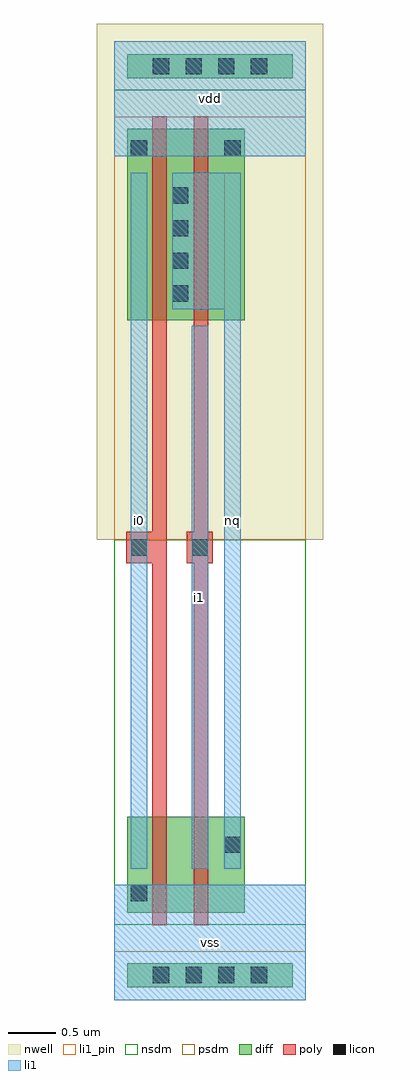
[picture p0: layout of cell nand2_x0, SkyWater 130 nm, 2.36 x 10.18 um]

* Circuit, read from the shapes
.subckt nand2_x0 i0 i1 nq vdd vss
XM1 n1 i0 vss VSUBS sky130_fd_pr__nfet_01v8 w=1 l=0.15
XM2 nq i1 n1 VSUBS sky130_fd_pr__nfet_01v8 w=1 l=0.15
XM3 nq i0 vdd n2 sky130_fd_pr__pfet_01v8 w=2 l=0.15
XM4 vdd i1 nq n2 sky130_fd_pr__pfet_01v8 w=2 l=0.15
.ends

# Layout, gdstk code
import gdstk
lib = gdstk.Library(unit=1e-6, precision=1e-09)
def R(c, l, rs):  # rectangles x0, y0, x1, y1
    for r in rs: c.add(gdstk.rectangle(r[:2], r[2:], *l))
def A(c, l, x, y, w, h, nx, ny, dx, dy):  # array of equal rectangles
    R(c, l, [(x+i*dx, y+j*dy, x+i*dx+w, y+j*dy+h) for i in range(nx) for j in range(ny)])
def P(c, l, *ps):  # polygons
    for p in ps: c.add(gdstk.Polygon(p, *l))
nwell = (64, 20)
diff = (65, 20)
poly = (66, 20)
licon = (66, 44)
li1_pin = (67, 16)
li1 = (67, 20)
nsdm = (93, 44)
psdm = (94, 20)

nand2_x0 = lib.new_cell('nand2_x0')
R(nand2_x0, nwell, [(-0.18,4.8,2.18,10.18)])
R(nand2_x0, diff, [(0.135,0.135,1.865,0.385), (0.135,0.91,1.36,1.91), (0.135,7.09,1.36,9.09), (0.135,9.615,1.865,9.865)])
P(nand2_x0, poly, [(0.4,0.78),(0.4,4.555),(0.125,4.555),(0.125,4.885),(0.4,4.885),(0.4,9.22),(0.55,9.22),(0.55,0.78)],
  [(0.83,0.78),(0.83,4.555),(0.76,4.555),(0.76,4.885),(0.83,4.885),(0.83,9.22),(0.98,9.22),(0.98,4.885),(1.03,4.885),(1.03,4.555),(0.98,4.555),(0.98,0.78)])
A(nand2_x0, licon, 0.405, 0.175, 0.17, 0.17, 4, 2, 0.34, 9.48)
A(nand2_x0, licon, 0.605, 7.285, 0.17, 0.17, 1, 4, 0, 0.34)
R(nand2_x0, licon, [(0.175,1.03,0.345,1.2), (1.15,1.535,1.32,1.705), (0.175,4.635,0.345,4.805), (0.81,4.635,0.98,4.805), (0.175,8.8,0.345,8.97), (1.15,8.8,1.32,8.97)])
R(nand2_x0, li1_pin, [(0,0,2,1.2), (0.175,1.37,0.345,8.63), (0.81,1.37,0.98,7.035), (1.15,1.37,1.32,8.63), (0,8.8,2,10)])
R(nand2_x0, li1, [(0,0,2,1.2), (0.175,1.37,0.345,8.63), (0.81,1.37,0.98,7.035), (0,8.8,2,10)])
P(nand2_x0, li1, [(1.15,1.37),(1.15,7.205),(0.605,7.205),(0.605,8.63),(1.32,8.63),(1.32,1.37)])
R(nand2_x0, nsdm, [(0,0.785,2,4.8), (0,9.49,2,10)])
R(nand2_x0, psdm, [(0,0,2,0.51), (0,4.8,2,9.215)])
nand2_x0.add(gdstk.Label('vss', (1,0.6), layer=67, texttype=16))
nand2_x0.add(gdstk.Label('vdd', (1,9.4), layer=67, texttype=16))
nand2_x0.add(gdstk.Label('i0', (0.26,5), layer=67, texttype=16))
nand2_x0.add(gdstk.Label('nq', (1.235,5), layer=67, texttype=16))
nand2_x0.add(gdstk.Label('i1', (0.895,4.203), layer=67, texttype=16))

lib.write_gds('nand2_x0.gds')
